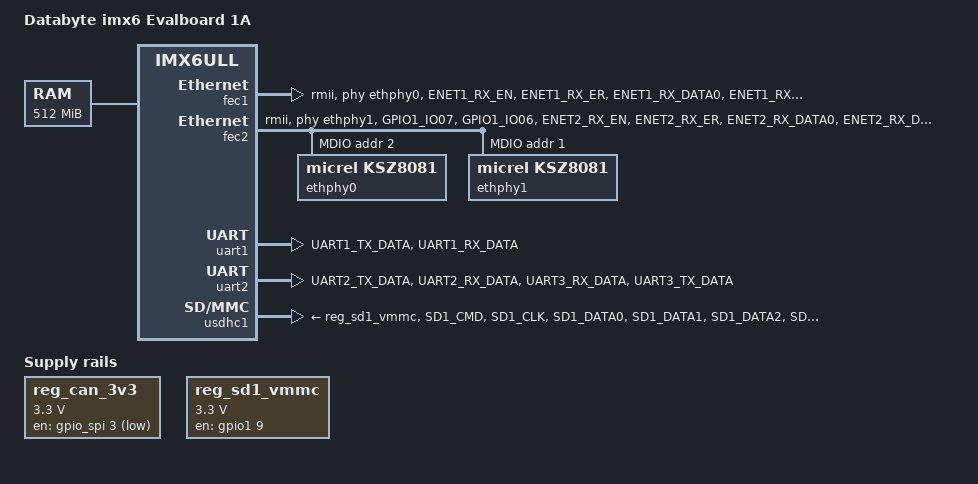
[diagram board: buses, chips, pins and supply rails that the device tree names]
/*
 * Copyright (C) 2016 Freescale Semiconductor, Inc.
 *
 * This program is free software; you can redistribute it and/or modify
 * it under the terms of the GNU General Public License version 2 as
 * published by the Free Software Foundation.
 */

/dts-v1/;

#include "imx6ull.dtsi"

/ {
	model = "Databyte imx6 Evalboard 1A";
	compatible = "dtb,eval1a", "fsl,imx6ull";

	chosen {
		stdout-path = &uart1;
	};

	memory {
		reg = <0x80000000 0x20000000>;
	};

	regulators {
		compatible = "simple-bus";
		#address-cells = <1>;
		#size-cells = <0>;

		reg_can_3v3: regulator@0 {
			compatible = "regulator-fixed";
			reg = <0>;
			regulator-name = "can-3v3";
			regulator-min-microvolt = <3300000>;
			regulator-max-microvolt = <3300000>;
			gpios = <&gpio_spi 3 GPIO_ACTIVE_LOW>;
		};

		reg_sd1_vmmc: regulator@1 {
			compatible = "regulator-fixed";
			regulator-name = "VSD_3V3";
			regulator-min-microvolt = <3300000>;
			regulator-max-microvolt = <3300000>;
			gpio = <&gpio1 9 GPIO_ACTIVE_HIGH>;
			enable-active-high;
		};

	};

};

&cpu0 {
	arm-supply = <&reg_arm>;
	soc-supply = <&reg_soc>;
	/*dc-supply = <&reg_gpio_dvfs>;*/
};

&clks {
	assigned-clocks = <&clks IMX6UL_CLK_PLL4_AUDIO_DIV>;
	assigned-clock-rates = <786432000>;
};

&fec1 {
	pinctrl-names = "default";
	pinctrl-0 = <&pinctrl_enet1>;
	phy-mode = "rmii";
	phy-handle = <&ethphy0>;
	status = "okay";
};

&fec2 {
	pinctrl-names = "default";
	pinctrl-0 = <&pinctrl_enet2>;
	phy-mode = "rmii";
	phy-handle = <&ethphy1>;
	status = "okay";

	mdio {
		#address-cells = <1>;
		#size-cells = <0>;

		ethphy0: ethernet-phy@2 {
			compatible = "micrel,ksz8081";
			reg = <2>;
		};

		ethphy1: ethernet-phy@1 {
			compatible = "micrel,ksz8081";
			reg = <1>;
		};
	};
};


&iomuxc {
	pinctrl-names = "default";
	pinctrl-0 = <&pinctrl_hog_1>;
	eval1a {

		pinctrl_enet1: enet1grp {
			fsl,pins = <
				MX6UL_PAD_ENET1_RX_EN__ENET1_RX_EN	0x1b0b0
				MX6UL_PAD_ENET1_RX_ER__ENET1_RX_ER	0x1b0b0
				MX6UL_PAD_ENET1_RX_DATA0__ENET1_RDATA00	0x1b0b0
				MX6UL_PAD_ENET1_RX_DATA1__ENET1_RDATA01	0x1b0b0
				MX6UL_PAD_ENET1_TX_EN__ENET1_TX_EN	0x1b0b0
				MX6UL_PAD_ENET1_TX_DATA0__ENET1_TDATA00	0x1b0b0
				MX6UL_PAD_ENET1_TX_DATA1__ENET1_TDATA01	0x1b0b0
				MX6UL_PAD_ENET1_TX_CLK__ENET1_REF_CLK1	0x4001b031
			>;
		};

		pinctrl_enet2: enet2grp {
			fsl,pins = <
				MX6UL_PAD_GPIO1_IO07__ENET2_MDC		0x1b0b0
				MX6UL_PAD_GPIO1_IO06__ENET2_MDIO	0x1b0b0
				MX6UL_PAD_ENET2_RX_EN__ENET2_RX_EN	0x1b0b0
				MX6UL_PAD_ENET2_RX_ER__ENET2_RX_ER	0x1b0b0
				MX6UL_PAD_ENET2_RX_DATA0__ENET2_RDATA00	0x1b0b0
				MX6UL_PAD_ENET2_RX_DATA1__ENET2_RDATA01	0x1b0b0
				MX6UL_PAD_ENET2_TX_EN__ENET2_TX_EN	0x1b0b0
				MX6UL_PAD_ENET2_TX_DATA0__ENET2_TDATA00	0x1b0b0
				MX6UL_PAD_ENET2_TX_DATA1__ENET2_TDATA01	0x1b0b0
				MX6UL_PAD_ENET2_TX_CLK__ENET2_REF_CLK2	0x4001b031
			>;
		};

		
		pinctrl_uart1: uart1grp {
			fsl,pins = <
				MX6UL_PAD_UART1_TX_DATA__UART1_DCE_TX 0x1b0b1
				MX6UL_PAD_UART1_RX_DATA__UART1_DCE_RX 0x1b0b1
			>;
		};

		pinctrl_uart2: uart2grp {
			fsl,pins = <
				MX6UL_PAD_UART2_TX_DATA__UART2_DCE_TX	0x1b0b1
				MX6UL_PAD_UART2_RX_DATA__UART2_DCE_RX	0x1b0b1
				MX6UL_PAD_UART3_RX_DATA__UART2_DCE_RTS	0x1b0b1
				MX6UL_PAD_UART3_TX_DATA__UART2_DCE_CTS	0x1b0b1
			>;
		};

		pinctrl_uart2dte: uart2dtegrp {
			fsl,pins = <
				MX6UL_PAD_UART2_TX_DATA__UART2_DTE_RX	0x1b0b1
				MX6UL_PAD_UART2_RX_DATA__UART2_DTE_TX	0x1b0b1
				MX6UL_PAD_UART3_RX_DATA__UART2_DTE_CTS	0x1b0b1
				MX6UL_PAD_UART3_TX_DATA__UART2_DTE_RTS	0x1b0b1
			>;
		};

		pinctrl_usdhc1: usdhc1grp {
			fsl,pins = <
				MX6UL_PAD_SD1_CMD__USDHC1_CMD     0x17059
				MX6UL_PAD_SD1_CLK__USDHC1_CLK     0x10071
				MX6UL_PAD_SD1_DATA0__USDHC1_DATA0 0x17059
				MX6UL_PAD_SD1_DATA1__USDHC1_DATA1 0x17059
				MX6UL_PAD_SD1_DATA2__USDHC1_DATA2 0x17059
				MX6UL_PAD_SD1_DATA3__USDHC1_DATA3 0x17059
			>;
		};

		pinctrl_wdog: wdoggrp {
			fsl,pins = <
				MX6UL_PAD_LCD_RESET__WDOG1_WDOG_ANY    0x30b0
			>;
		};
	};
};


&uart1 {
	pinctrl-names = "default";
	pinctrl-0 = <&pinctrl_uart1>;
	status = "okay";
};

&uart2 {
	pinctrl-names = "default";
	pinctrl-0 = <&pinctrl_uart2>;
	fsl,uart-has-rtscts;
	/* for DTE mode, add below change */
	/* fsl,dte-mode; */
	/* pinctrl-0 = <&pinctrl_uart2dte>; */
	status = "okay";
};

&usdhc1 {
	pinctrl-names = "default";
	pinctrl-0 = <&pinctrl_usdhc1>;
	cd-gpios = <&gpio1 19 GPIO_ACTIVE_LOW>;
	keep-power-in-suspend;
	enable-sdio-wakeup;
	vmmc-supply = <&reg_sd1_vmmc>;
	status = "okay";
};

&wdog1 {
	pinctrl-names = "default";
	pinctrl-0 = <&pinctrl_wdog>;
	fsl,wdog_b;
};
